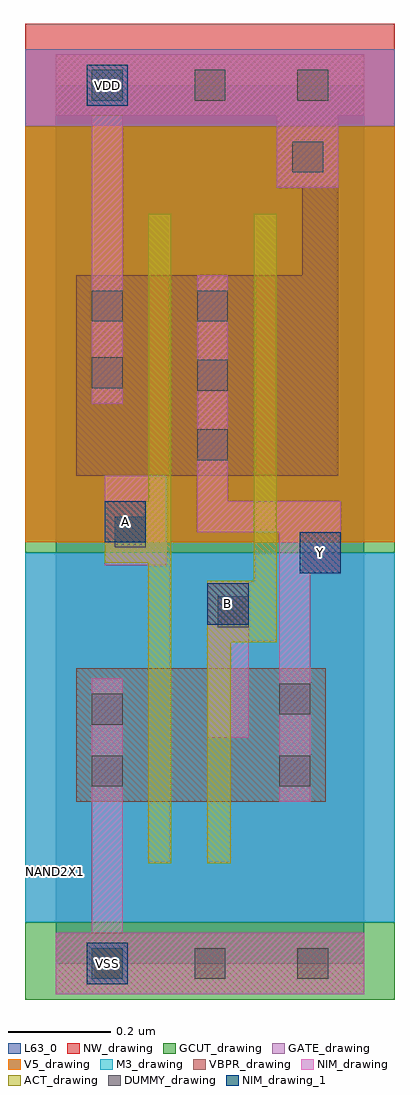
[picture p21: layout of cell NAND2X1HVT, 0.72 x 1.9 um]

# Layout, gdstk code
import gdstk
lib = gdstk.Library(unit=1e-6, precision=5e-10)
def R(c, l, rs):  # rectangles x0, y0, x1, y1
    for r in rs: c.add(gdstk.rectangle(r[:2], r[2:], *l))
def A(c, l, x, y, w, h, nx, ny, dx, dy):  # array of equal rectangles
    R(c, l, [(x+i*dx, y+j*dy, x+i*dx+w, y+j*dy+h) for i in range(nx) for j in range(ny)])
def P(c, l, *ps):  # polygons
    for p in ps: c.add(gdstk.Polygon(p, *l))
VBPR_drawing = (1, 0)
NW_drawing = (2, 0)
ACT_drawing = (3, 0)
GATE_drawing = (4, 0)
GCUT_drawing = (5, 0)
DUMMY_drawing = (6, 0)
NIM_drawing = (7, 0)
NIM_drawing_1 = (7, 1)
M3_drawing = (18, 0)
V5_drawing = (23, 0)
L63_0 = (63, 0)

nand2x1hvt = lib.new_cell('NAND2X1HVT')
R(nand2x1hvt, VBPR_drawing, [(0,-0.06,0.6,0.06), (0.04,0.315,0.525,0.575), (0,1.65,0.6,1.77)])
P(nand2x1hvt, VBPR_drawing, [(0.55,1.65),(0.43,1.65),(0.43,1.51),(0.48,1.51),(0.48,1.34),(0.04,1.34),(0.04,0.95),(0.55,0.95)])
R(nand2x1hvt, NW_drawing, [(-0.06,0.82,0.66,1.83)])
P(nand2x1hvt, ACT_drawing, [(0.18,1.46),(0.225,1.46),(0.225,0.195),(0.18,0.195),(0.18,0.78),(0.095,0.78),(0.095,0.9),(0.18,0.9)],
  [(0.385,1.46),(0.43,1.46),(0.43,0.625),(0.34,0.625),(0.34,0.195),(0.295,0.195),(0.295,0.745),(0.385,0.745)])
R(nand2x1hvt, GATE_drawing, [(-0.06,0.08,0.66,0.8), (-0.06,1.63,0.66,1.78)])
R(nand2x1hvt, GCUT_drawing, [(-0.06,-0.07,0.66,0.08), (-0.06,0.8,0.66,1.63)])
A(nand2x1hvt, DUMMY_drawing, 0.07, -0.03, 0.06, 0.06, 3, 2, 0.2, 1.71)
A(nand2x1hvt, DUMMY_drawing, 0.275, 0.98, 0.06, 0.06, 1, 3, 0, 0.135)
R(nand2x1hvt, DUMMY_drawing, [(0.07,0.345,0.13,0.405), (0.435,0.345,0.495,0.405), (0.07,0.465,0.13,0.525), (0.435,0.485,0.495,0.545), (0.315,0.655,0.375,0.715), (0.115,0.81,0.175,0.87), (0.07,1.12,0.13,1.18), (0.07,1.25,0.13,1.31), (0.46,1.54,0.52,1.6)])
R(nand2x1hvt, NIM_drawing, [(0.07,0.06,0.13,0.555), (0.295,0.44,0.375,0.745), (0.095,0.775,0.215,0.95), (0.07,1.09,0.13,1.65), (0.43,1.51,0.55,1.65)])
P(nand2x1hvt, NIM_drawing, [(0.275,1.34),(0.335,1.34),(0.335,0.9),(0.555,0.9),(0.555,0.76),(0.495,0.76),(0.495,0.315),(0.435,0.315),(0.435,0.84),(0.275,0.84)])
R(nand2x1hvt, NIM_drawing_1, [(0.06,-0.04,0.14,0.04), (0.295,0.66,0.375,0.74), (0.475,0.76,0.555,0.84), (0.095,0.82,0.175,0.9), (0.06,1.67,0.14,1.75)])
R(nand2x1hvt, M3_drawing, [(-0.06,0.08,0.66,0.8)])
R(nand2x1hvt, V5_drawing, [(-0.06,0.82,0.66,1.63)])
R(nand2x1hvt, L63_0, [(0,0,0.6,1.71)])
nand2x1hvt.add(gdstk.FlexPath([(0,0),(0.6,0)], 0.12, ends="flush", simple_path=True, layer=7, datatype=0))  # NIM_drawing
nand2x1hvt.add(gdstk.FlexPath([(0,1.71),(0.6,1.71)], 0.12, ends="flush", simple_path=True, layer=7, datatype=0))  # NIM_drawing
nand2x1hvt.add(gdstk.Label('Y', (0.515,0.8), layer=7, texttype=1))
nand2x1hvt.add(gdstk.Label('VSS', (0.1,0), layer=7, texttype=1))
nand2x1hvt.add(gdstk.Label('VSS', (0.1,0), layer=7, texttype=1))
nand2x1hvt.add(gdstk.Label('A', (0.135,0.86), layer=7, texttype=1))
nand2x1hvt.add(gdstk.Label('B', (0.335,0.7), layer=7, texttype=1))
nand2x1hvt.add(gdstk.Label('VDD', (0.1,1.71), layer=7, texttype=1))
nand2x1hvt.add(gdstk.Label('VDD', (0.1,1.71), layer=7, texttype=1))
nand2x1hvt.add(gdstk.Label('B', (0.335,0.7), layer=7, texttype=1))
nand2x1hvt.add(gdstk.Label('A', (0.135,0.86), layer=7, texttype=1))
nand2x1hvt.add(gdstk.Label('Y', (0.515,0.8), layer=7, texttype=1))
nand2x1hvt.add(gdstk.Label('NAND2X1', (0,0.18), layer=63, texttype=0))

lib.write_gds('NAND2X1HVT.gds')
